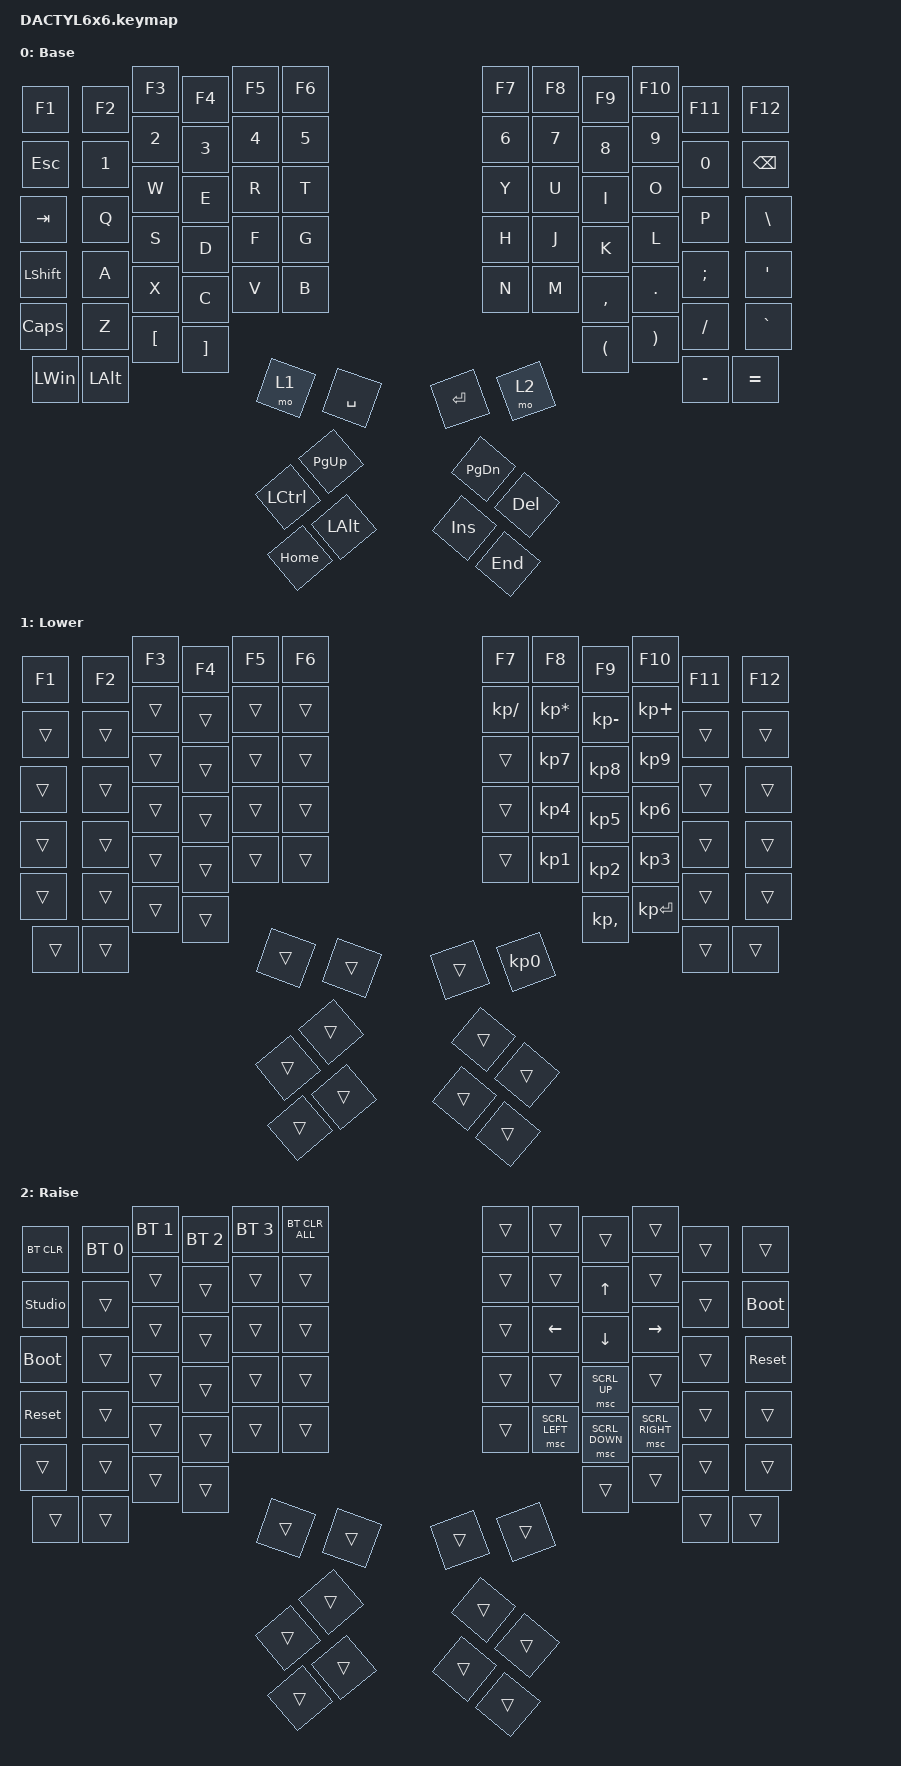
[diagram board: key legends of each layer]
//#*
//# * Copyright (c) 2020 Ryan Cross, Bruce Jones
//# *
//# * SPDX-License-Identifier: MIT
//# *
 
#include <behaviors.dtsi>
#include <dt-bindings/zmk/keys.h>
#include <dt-bindings/zmk/bt.h>
#include <dt-bindings/zmk/pointing.h>

/{ 
  keymap {
    compatible = "zmk,keymap";

    default_layer {
      display-name = "Base";
      // --------------------------------------------------------------------------------------------------------------------
      // |   F1   |   F2   |   F3   |   F4    |   F5  |   F6   |  |   F7   |   F8   |   F9   |   F10   |   F11   |   F12   |
      // |  ESC   |    1   |    2   |    3    |   4   |    5   |  |   6    |   7    |   8    |    9    |    0    |   BSPC  |
      // |  TAB   |    Q   |    W   |    E    |   R   |    T   |  |   Y    |   U    |   I    |    O    |    P    |    \    |
      // |  SHIFT |    A   |    S   |    D    |   F   |    G   |  |   H    |   J    |   K    |    L    |    ;    |    '"   |
      // |  CAPS  |    Z   |    X   |    C    |   V   |    B   |  |   N    |   M    |   ,    |    .    |    /    |    ~    |
      // |  WIN   |   ALT  |    {   |    }    | LOWER |  SPACE |  | ENTER  | RAISE  |   (    |    )    |    -    |    +    |
      //                   |   HOME |   ALT   | LCTRL |  PG_UP |  | PG_DOWN| DEL    | INSERT |   END   |
      //

                                                            bindings = <
              &kp F1     &kp F2    &kp F3    &kp F4    &kp F5     &kp F6        &kp F7       &kp F8   &kp F9      &kp F10   &kp F11    &kp F12
              &kp ESC    &kp N1    &kp N2    &kp N3    &kp N4     &kp N5        &kp N6       &kp N7   &kp N8      &kp N9    &kp N0     &kp BSPC
              &kp TAB    &kp Q     &kp W     &kp E     &kp R      &kp T         &kp Y        &kp U    &kp I       &kp O     &kp P      &kp BSLH
              &kp LSHFT  &kp A     &kp S     &kp D     &kp F      &kp G         &kp H        &kp J    &kp K       &kp L     &kp SEMI   &kp APOS
              &kp CAPS   &kp Z     &kp X     &kp C     &kp V      &kp B         &kp N        &kp M    &kp COMMA   &kp DOT   &kp SLASH  &kp GRAVE
              &kp LWIN   &kp LALT  &kp LBKT  &kp RBKT  &mo 1      &kp SPACE     &kp ENTER    &mo 2    &kp LPAR    &kp RPAR  &kp MINUS  &kp EQUAL
                                   &kp HOME  &kp LALT  &kp LCTRL  &kp PG_UP     &kp PG_DN    &kp DEL  &kp INSERT  &kp END
                                                >;
    };

    Lower {
      display-name = "Lower";
      // --------------------------------------------------------------------------------------------------------------------
      // |   F1   |   F2   |   F3   |   F4    |   F5  |   F6   |  |   F7   |   F8   |   F9   |   F10   |   F11   |   F12   |
      // |        |        |        |         |       |        |  |   /    |    *   |   -    |   +     |         |         |
      // |        |        |        |         |       |        |  |        |    7   |   8    |   9     |         |         |
      // |        |        |        |         |       |        |  |        |    4   |   5    |   6     |         |         |
      // |        |        |        |         |       |        |  |        |    1   |   2    |   3     |         |         |
      // |        |        |        |         |       |        |  |        |    0   |   ,    |  ENTER  |         |         |
      // |        |        |        |         |       |        |  |        |        |        |         |         |         |
      //

                                                                      bindings = <
              &kp F1     &kp F2    &kp F3    &kp F4    &kp F5     &kp F6        &kp F7         &kp F8            &kp F9        &kp F10       &kp F11    &kp F12
              &trans     &trans    &trans    &trans    &trans     &trans        &kp KP_DIVIDE  &kp KP_MULTIPLY   &kp KP_MINUS  &kp KP_PLUS   &trans     &trans
              &trans     &trans    &trans    &trans    &trans     &trans        &trans         &kp KP_N7         &kp KP_N8     &kp KP_N9     &trans     &trans
              &trans     &trans    &trans    &trans    &trans     &trans        &trans         &kp KP_N4         &kp KP_N5     &kp KP_N6     &trans     &trans
              &trans     &trans    &trans    &trans    &trans     &trans        &trans         &kp KP_N1         &kp KP_N2     &kp KP_N3     &trans     &trans
              &trans     &trans    &trans    &trans    &trans     &trans        &trans         &kp KP_N0         &kp KP_COMMA  &kp KP_ENTER  &trans     &trans
                                   &trans    &trans    &trans     &trans        &trans         &trans            &trans        &trans
                                                          >;
    };

    Raise {
      display-name = "Raise";
      // --------------------------------------------------------------------------------------------------------------------
      // | BT_CLR | BT_SEL 0 | BT_SEL 1 | BT_SET 2 | BT_SET 3 |          |  |        |        |        |         |         |         |
      // |        |          |          |          |          |          |  |        |        |   ^    |         |         |         |
      // |        |          |          |          |          |          |  |        |    <   |   v    |    >    |         |         |
      // |        |          |          |          |          |          |  |        |        |        |         |         |         |
      // |        |          |          |          |          |          |  |        |        |        |         |         |         |
      // |        |          |          |          |          |          |  |        |        |        |         |         |         |
      // |        |          |          |          |          |          |  |        |        |        |         |         |         |
      //

                                                                                    bindings = <
              &bt BT_CLR      &bt BT_SEL 0  &bt BT_SEL 1  &bt BT_SEL 2  &bt BT_SEL 3  &bt BT_CLR_ALL  &trans   &trans             &trans             &trans               &trans   &trans
              &studio_unlock  &trans        &trans        &trans        &trans        &trans          &trans   &trans             &kp UP_ARROW       &trans               &trans   &bootloader
              &bootloader     &trans        &trans        &trans        &trans        &trans          &trans   &kp LEFT_ARROW     &kp DOWN_ARROW     &kp RIGHT_ARROW      &trans   &sys_reset
              &sys_reset      &trans        &trans        &trans        &trans        &trans          &trans   &trans             &msc SCRL_UP       &trans               &trans   &trans
              &trans          &trans        &trans        &trans        &trans        &trans          &trans   &msc SCRL_LEFT     &msc SCRL_DOWN     &msc SCRL_RIGHT      &trans   &trans
              &trans          &trans        &trans        &trans        &trans        &trans          &trans   &trans     &trans     &trans      &trans   &trans
                                            &trans        &trans        &trans        &trans          &trans   &trans     &trans     &trans
                                                                       >;
    };
  };
};
